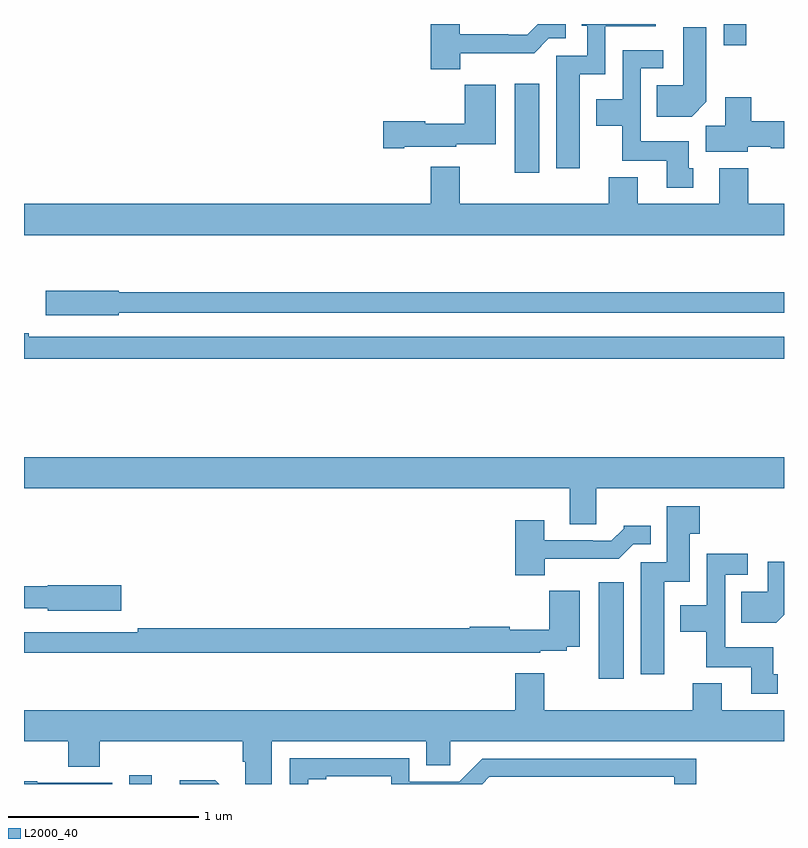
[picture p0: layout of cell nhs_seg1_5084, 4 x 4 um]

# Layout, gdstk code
import gdstk
lib = gdstk.Library(unit=1e-6, precision=1e-09)
def R(c, l, rs):  # rectangles x0, y0, x1, y1
    for r in rs: c.add(gdstk.rectangle(r[:2], r[2:], *l))
def P(c, l, *ps):  # polygons
    for p in ps: c.add(gdstk.Polygon(p, *l))
L2000_40 = (2000, 40)

nhs_seg1_5084 = lib.new_cell('nhs_seg1_5084')
R(nhs_seg1_5084, L2000_40, [(387.555,526.199,387.673,526.246), (390.026,526.752,390.157,527.26), (389.582,529.416,389.713,529.885), (390.684,530.088,390.8,530.199)])
P(nhs_seg1_5084, L2000_40, [(389.926,529.934),(390.06,529.934),(390.06,530.186),(390.325,530.186),(390.325,530.199),(389.936,530.199),(389.936,530.19),(389.964,530.19),(389.964,530.031),(389.801,530.031),(389.801,529.44),(389.926,529.44)],
  [(389.296,530.046),(389.685,530.046),(389.763,530.124),(389.851,530.124),(389.851,530.199),(389.705,530.199),(389.648,530.142),(389.549,530.142),(389.549,530.145),(389.293,530.145),(389.293,530.199),(389.141,530.199),(389.141,529.961),(389.296,529.961)],
  [(390.592,529.79),(390.592,530.182),(390.47,530.182),(390.47,529.876),(390.331,529.876),(390.331,529.712),(390.514,529.712)],
  [(390.523,529.44),(390.499,529.44),(390.499,529.582),(390.246,529.582),(390.246,529.965),(390.364,529.965),(390.364,530.061),(390.15,530.061),(390.15,529.804),(390.011,529.804),(390.011,529.664),(390.148,529.664),(390.148,529.478),(390.383,529.478),(390.383,529.338),(390.523,529.338)],
  [(389.002,529.553),(389.274,529.553),(389.274,529.565),(389.482,529.565),(389.482,529.879),(389.32,529.879),(389.32,529.675),(389.112,529.675),(389.112,529.688),(388.89,529.688),(388.89,529.546),(389.002,529.546)],
  [(390.81,529.553),(390.93,529.553),(390.93,529.546),(391,529.546),(391,529.688),(390.827,529.688),(390.827,529.813),(390.692,529.813),(390.692,529.664),(390.587,529.664),(390.587,529.526),(390.81,529.526)],
  [(391,529.252),(390.812,529.252),(390.812,529.441),(390.659,529.441),(390.659,529.252),(390.229,529.252),(390.229,529.393),(390.077,529.393),(390.077,529.252),(389.293,529.252),(389.293,529.447),(389.141,529.447),(389.141,529.252),(387,529.252),(387,529.088),(391,529.088)],
  [(387.498,528.678),(391,528.678),(391,528.787),(387.498,528.787),(387.498,528.795),(387.114,528.795),(387.114,528.665),(387.498,528.665)],
  [(391,528.552),(387.026,528.552),(387.026,528.572),(387,528.572),(387,528.436),(391,528.436)],
  [(390.013,527.756),(391,527.756),(391,527.92),(387,527.92),(387,527.756),(389.873,527.756),(389.873,527.566),(390.013,527.566)],
  [(390.37,527.264),(390.505,527.264),(390.505,527.515),(390.557,527.515),(390.557,527.662),(390.383,527.662),(390.383,527.367),(390.245,527.367),(390.245,526.776),(390.37,526.776)],
  [(389.74,527.384),(390.131,527.384),(390.207,527.46),(390.298,527.46),(390.298,527.557),(390.156,527.557),(390.156,527.542),(390.092,527.478),(389.993,527.478),(389.993,527.481),(389.737,527.481),(389.737,527.587),(389.585,527.587),(389.585,527.297),(389.74,527.297)],
  [(390.967,526.776),(390.943,526.776),(390.943,526.918),(390.69,526.918),(390.69,527.301),(390.808,527.301),(390.808,527.41),(390.594,527.41),(390.594,527.14),(390.455,527.14),(390.455,527),(390.592,527),(390.592,526.814),(390.827,526.814),(390.827,526.674),(390.967,526.674)],
  [(391,527.089),(391,527.37),(390.914,527.37),(390.914,527.212),(390.775,527.212),(390.775,527.048),(390.959,527.048)],
  [(387.511,527.246),(387.126,527.246),(387.126,527.24),(387,527.24),(387,527.124),(387.126,527.124),(387.126,527.111),(387.511,527.111)],
  [(389.718,526.901),(389.856,526.901),(389.856,526.922),(389.926,526.922),(389.926,527.215),(389.764,527.215),(389.764,527.011),(389.556,527.011),(389.556,527.026),(389.346,527.026),(389.346,527.018),(387.598,527.018),(387.598,526.998),(387,526.998),(387,526.89),(389.446,526.89),(389.446,526.889),(389.718,526.889)],
  [(388.303,526.424),(389.117,526.424),(389.117,526.297),(389.244,526.297),(389.244,526.424),(391,526.424),(391,526.588),(390.673,526.588),(390.673,526.729),(390.521,526.729),(390.521,526.588),(389.737,526.588),(389.737,526.783),(389.585,526.783),(389.585,526.588),(387,526.588),(387,526.424),(387.233,526.424),(387.233,526.291),(387.398,526.291),(387.398,526.424),(388.151,526.424),(388.151,526.315),(388.164,526.315),(388.164,526.199),(388.303,526.199)],
  [(388.495,526.224),(388.591,526.224),(388.591,526.239),(388.932,526.239),(388.932,526.199),(389.411,526.199),(389.448,526.236),(390.423,526.236),(390.423,526.199),(390.539,526.199),(390.539,526.332),(389.412,526.332),(389.292,526.212),(389.028,526.212),(389.028,526.335),(388.398,526.335),(388.398,526.199),(388.495,526.199)],
  [(388.006,526.22),(387.819,526.22),(387.819,526.199),(388.027,526.199)],
  [(387.465,526.206),(387.069,526.206),(387.069,526.213),(387,526.213),(387,526.199),(387.465,526.199)])

lib.write_gds('nhs_seg1_5084.gds')
